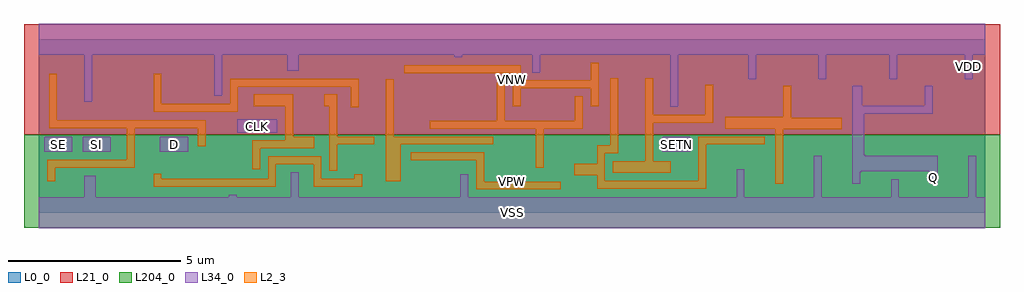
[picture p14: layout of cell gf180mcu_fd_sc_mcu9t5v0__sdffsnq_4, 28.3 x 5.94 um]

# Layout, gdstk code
import gdstk
lib = gdstk.Library(unit=1e-6, precision=1e-09)
def R(c, l, rs):  # rectangles x0, y0, x1, y1
    for r in rs: c.add(gdstk.rectangle(r[:2], r[2:], *l))
L0_0 = (0, 0)
L2_3 = (2, 3)
L21_0 = (21, 0)
L34_0 = (34, 0)
L204_0 = (204, 0)

gf180mcu_fd_sc_mcu9t5v0_ = lib.new_cell('gf180mcu_fd_sc_mcu9t5v0__sdffsnq_4')
R(gf180mcu_fd_sc_mcu9t5v0_, L0_0, [(0,0,27.44,5.04)])
R(gf180mcu_fd_sc_mcu9t5v0_, L2_3, [(12.685,0.68,15.13,0.91), (16.185,0.7,19.35,0.93), (3.325,0.76,6.875,0.99), (7.965,0.76,9.375,0.99), (21.35,0.845,21.58,2.42), (12.685,0.91,12.915,1.525), (0.245,0.925,0.475,1.31), (10.065,0.925,10.495,1.985), (16.185,0.93,16.415,1.085), (19.12,0.93,19.35,1.985), (3.325,0.99,3.555,1.13), (6.645,0.99,6.875,1.41), (7.965,0.99,8.195,1.41), (9.145,0.99,9.375,1.12), (15.525,1.085,16.415,1.425), (16.645,1.16,18.32,1.5), (8.425,1.22,8.655,1.985), (6.185,1.27,6.415,1.87), (0.245,1.31,2.775,1.54), (14.405,1.315,14.635,2.445), (6.645,1.41,8.195,1.64), (16.185,1.425,16.415,1.73), (17.585,1.5,17.815,2.615), (10.79,1.525,12.915,1.755), (2.545,1.54,2.775,2.455), (16.185,1.73,16.795,1.96), (6.185,1.87,7.98,2.1), (4.605,1.93,4.835,2.455), (16.565,1.96,16.795,3.9), (8.425,1.985,9.72,2.215), (10.065,1.985,13.17,2.215), (19.12,1.985,21.055,2.215), (7.14,2.1,7.98,2.215), (7.14,2.215,7.37,3.095), (8.425,2.215,8.655,3.095), (10.065,2.215,10.295,3.875), (21.35,2.42,23.275,2.445), (11.33,2.445,15.775,2.675), (19.905,2.445,23.275,2.76), (0.295,2.455,4.835,2.685), (17.585,2.615,19.555,2.845), (13.285,2.675,13.515,3.77), (15.545,2.675,15.775,3.38), (0.295,2.685,0.525,4.04), (19.905,2.76,21.815,2.785), (21.585,2.785,21.815,3.69), (17.585,2.845,17.815,3.9), (19.325,2.845,19.555,3.715), (3.325,2.94,5.775,3.17), (9.045,3.065,9.275,3.665), (6.235,3.095,7.37,3.435), (8.275,3.095,8.655,3.435), (13.745,3.095,13.975,3.61), (16.005,3.095,16.235,3.61), (3.325,3.17,3.555,4.04), (5.545,3.17,5.775,3.665), (13.745,3.61,16.235,3.84), (5.545,3.665,9.275,3.895), (13.745,3.84,13.975,4.05), (16.005,3.84,16.235,4.36), (10.59,4.05,13.975,4.28)])
R(gf180mcu_fd_sc_mcu9t5v0_, L21_0, [(-0.43,2.265,27.87,5.47)])
R(gf180mcu_fd_sc_mcu9t5v0_, L34_0, [(0,-0.45,27.44,0.45), (1.31,0.45,1.65,1.075), (5.505,0.45,5.735,0.53), (7.305,0.45,7.535,1.18), (12.225,0.45,12.455,1.12), (20.23,0.45,20.46,1.265), (22.47,0.45,22.7,1.655), (24.71,0.45,24.94,0.98), (26.95,0.45,27.18,1.655), (23.59,0.845,23.82,1.21), (25.83,0.845,26.06,1.21), (23.59,1.21,26.06,1.655), (23.59,1.655,23.93,2.88), (0.15,1.77,0.97,2.215), (1.27,1.77,2.09,2.215), (3.51,1.77,4.33,2.215), (18.07,1.77,18.89,2.215), (5.75,2.33,6.91,2.71), (23.59,2.88,25.92,3.11), (18.305,3.075,18.535,4.59), (23.59,3.11,23.87,3.69), (25.69,3.11,25.92,3.69), (1.315,3.23,1.545,4.59), (5.085,3.4,5.315,4.59), (20.565,3.88,20.795,4.59), (22.605,3.88,22.835,4.59), (24.66,3.88,24.89,4.59), (26.85,3.88,27.08,4.59), (14.305,4.07,14.535,4.59), (7.2,4.125,7.54,4.59), (12.045,4.51,12.275,4.59), (0,4.59,27.44,5.49)])
R(gf180mcu_fd_sc_mcu9t5v0_, L204_0, [(-0.43,-0.43,27.87,2.265)])
gf180mcu_fd_sc_mcu9t5v0_.add(gdstk.Label('D', (3.92,1.992), layer=34, texttype=10))
gf180mcu_fd_sc_mcu9t5v0_.add(gdstk.Label('SE', (0.56,1.992), layer=34, texttype=10))
gf180mcu_fd_sc_mcu9t5v0_.add(gdstk.Label('SETN', (18.48,1.992), layer=34, texttype=10))
gf180mcu_fd_sc_mcu9t5v0_.add(gdstk.Label('SI', (1.68,1.992), layer=34, texttype=10))
gf180mcu_fd_sc_mcu9t5v0_.add(gdstk.Label('CLK', (6.33,2.52), layer=34, texttype=10))
gf180mcu_fd_sc_mcu9t5v0_.add(gdstk.Label('Q', (25.945,1.027), layer=34, texttype=10))
gf180mcu_fd_sc_mcu9t5v0_.add(gdstk.Label('VDD', (26.965,4.235), layer=34, texttype=10))
gf180mcu_fd_sc_mcu9t5v0_.add(gdstk.Label('VSS', (13.72,0), layer=34, texttype=10))
gf180mcu_fd_sc_mcu9t5v0_.add(gdstk.Label('VNW', (13.72,3.867), layer=3, texttype=1))
gf180mcu_fd_sc_mcu9t5v0_.add(gdstk.Label('VPW', (13.72,0.917), layer=4, texttype=1))

lib.write_gds('gf180mcu_fd_sc_mcu9t5v0__sdffsnq_4.gds')
